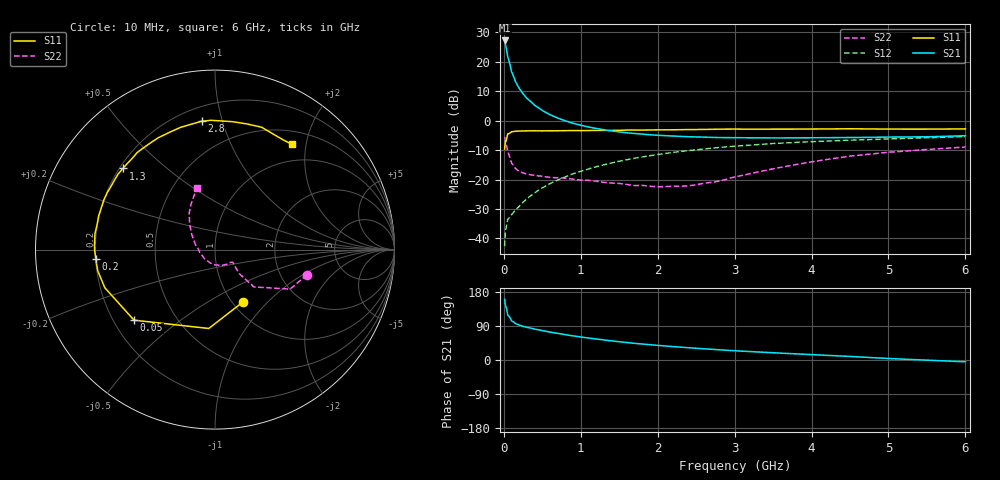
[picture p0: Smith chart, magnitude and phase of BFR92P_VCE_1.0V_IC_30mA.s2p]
! Infineon Technologies  Discrete & RF Semiconductors
! BFR92P
! VCE =  1.0 V,  IC =  30 mA
! Common Emitter S-Parameters:  Apr 2014
# GHz  S  MA  R  50
!  f  S11  S21  S12  S22
! GHz  MAG  ANG  MAG  ANG  MAG  ANG  MAG  ANG
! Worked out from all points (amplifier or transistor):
!   77 points, 10 MHz to 6 GHz, reference 50 ohm
!   highest |S21| = 27.3 dB at 10 MHz (marker M1)
!   |S21| within 3 dB of that: start of sweep to 33.63 MHz
!   unconditionally stable (mu >= 1): start of sweep to end of sweep
!   at 130 MHz: K = 1.74, MAG = 17.9 dB, |S12| = -31.0 dB
!   at 2.2 GHz: K = 1.69, MAG = -2.1 dB, |S12| = -10.8 dB
!   at 6 GHz: K = 1.09, MAG = -1.7 dB, |S12| = -5.4 dB
!   S11 on the Smith chart (normalised r, x): 10 MHz: 1.13, -0.73; 50 MHz: 0.28, -0.35; 200 MHz: 0.20, -0.04; 1.3 GHz: 0.21, +0.36; 2.8 GHz: 0.29, +0.86; 6 GHz: 0.70, +1.75
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0.01  0.3302 -61.3  23.05 159.9  0.0074 69.1  0.5313 -15.3
0.02  0.4408 -94.5  20.42 145.1  0.0128 58.5  0.4732 -27.7
0.03  0.4582 -112.2  17.38 139.1  0.0154 52.1  0.4127 -31.6
0.05  0.5984 -138.9  12.29 118.7  0.0209 44.2  0.3006 -43.8
0.1  0.6496 -160.9  6.796 103.3  0.0252 44.3  0.1919 -44.7
0.15  0.6639 -169.7  4.66 96.3  0.0304 50.4  0.1547 -41.5
0.2  0.6664 -175.4  3.538 92.2  0.0352 54.9  0.1372 -37.6
0.25  0.6704 -179.6  2.859 88.9  0.0412 59.0  0.1298 -37.1
0.3  0.6721 177.7  2.393 86.1  0.0473 61.4  0.1237 -35.6
0.4  0.6746 172.4  1.829 81.5  0.0594 65.1  0.1175 -36.4
0.5  0.6715 167.7  1.488 77.5  0.0724 66.2  0.1137 -39.0
0.6  0.675 163.7  1.265 73.7  0.0853 67.2  0.1089 -42.0
0.7  0.6748 159.8  1.109 70.3  0.0983 67.6  0.1071 -45.4
0.9  0.6789 152.2  0.905 63.7  0.1255 66.8  0.1016 -55.7
1.1  0.6808 145.3  0.782 58.0  0.1514 65.2  0.0971 -65.0
1.3  0.6837 138.6  0.702 53.0  0.1784 62.8  0.0897 -76.4
2.1  0.6991 113.8  0.557 37.0  0.278 51.1  0.0759 -131.1
2.8  0.7186 96.0  0.517 27.0  0.3512 40.4  0.0941 177.1
3.1  0.7188 89.9  0.514 23.3  0.3766 35.7  0.1179 161.9
4.1  0.7231 74.5  0.514 13.2  0.4457 21.9  0.2099 132.5
5.1  0.7202 62.4  0.528 3.1  0.4944 10.2  0.2974 115.5
6  0.7259 53.9  0.556 -4.7  0.5381 -0.1  0.3572 105.9
